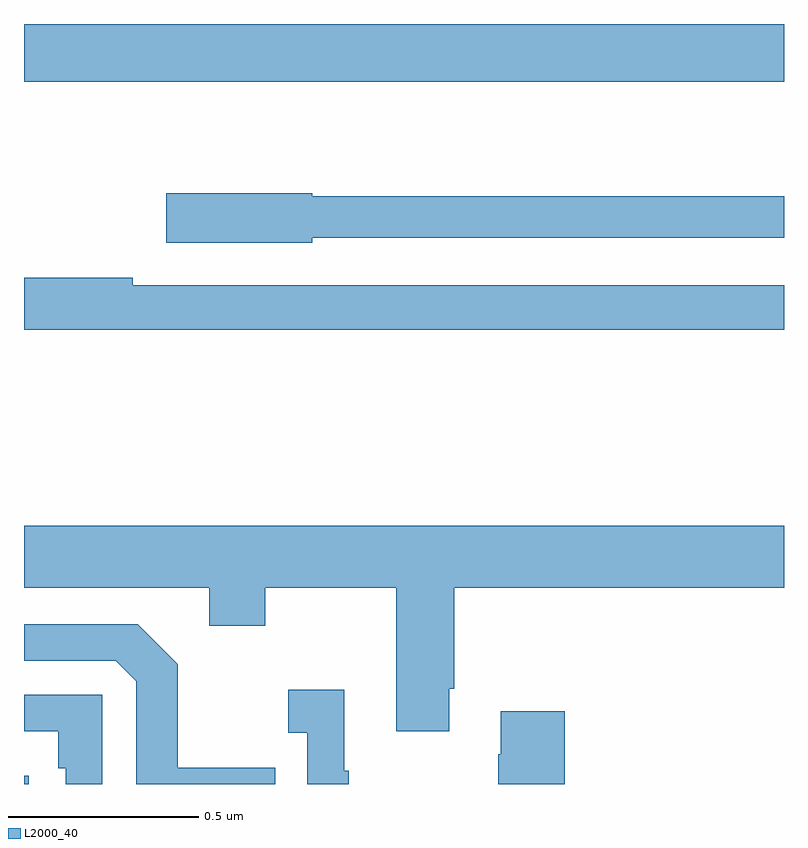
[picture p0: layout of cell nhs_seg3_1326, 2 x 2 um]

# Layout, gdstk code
import gdstk
lib = gdstk.Library(unit=1e-6, precision=1e-09)
def R(c, l, rs):  # rectangles x0, y0, x1, y1
    for r in rs: c.add(gdstk.rectangle(r[:2], r[2:], *l))
def P(c, l, *ps):  # polygons
    for p in ps: c.add(gdstk.Polygon(p, *l))
L2000_40 = (2000, 40)

nhs_seg3_1326 = lib.new_cell('nhs_seg3_1326')
R(nhs_seg3_1326, L2000_40, [(127,700.4,127.012,700.422), (127,702.248,129,702.4)])
P(nhs_seg3_1326, L2000_40, [(127.758,701.838),(129,701.838),(129,701.947),(127.758,701.947),(127.758,701.955),(127.374,701.955),(127.374,701.825),(127.758,701.825)],
  [(129,701.712),(127.286,701.712),(127.286,701.732),(127,701.732),(127,701.596),(129,701.596)],
  [(128.119,700.651),(128.132,700.651),(128.132,700.916),(129,700.916),(129,701.08),(127,701.08),(127,700.916),(127.487,700.916),(127.487,700.817),(127.635,700.817),(127.635,700.916),(127.979,700.916),(127.979,700.539),(128.119,700.539)],
  [(127.661,700.443),(127.405,700.443),(127.405,700.715),(127.299,700.821),(127,700.821),(127,700.725),(127.242,700.725),(127.296,700.671),(127.296,700.4),(127.661,700.4)],
  [(127.855,700.435),(127.843,700.435),(127.843,700.648),(127.695,700.648),(127.695,700.535),(127.746,700.535),(127.746,700.4),(127.855,700.4)],
  [(127.206,700.635),(127,700.635),(127,700.539),(127.09,700.539),(127.09,700.442),(127.11,700.442),(127.11,700.4),(127.206,700.4)],
  [(128.423,700.591),(128.255,700.591),(128.255,700.478),(128.248,700.478),(128.248,700.4),(128.423,700.4)])

lib.write_gds('nhs_seg3_1326.gds')
